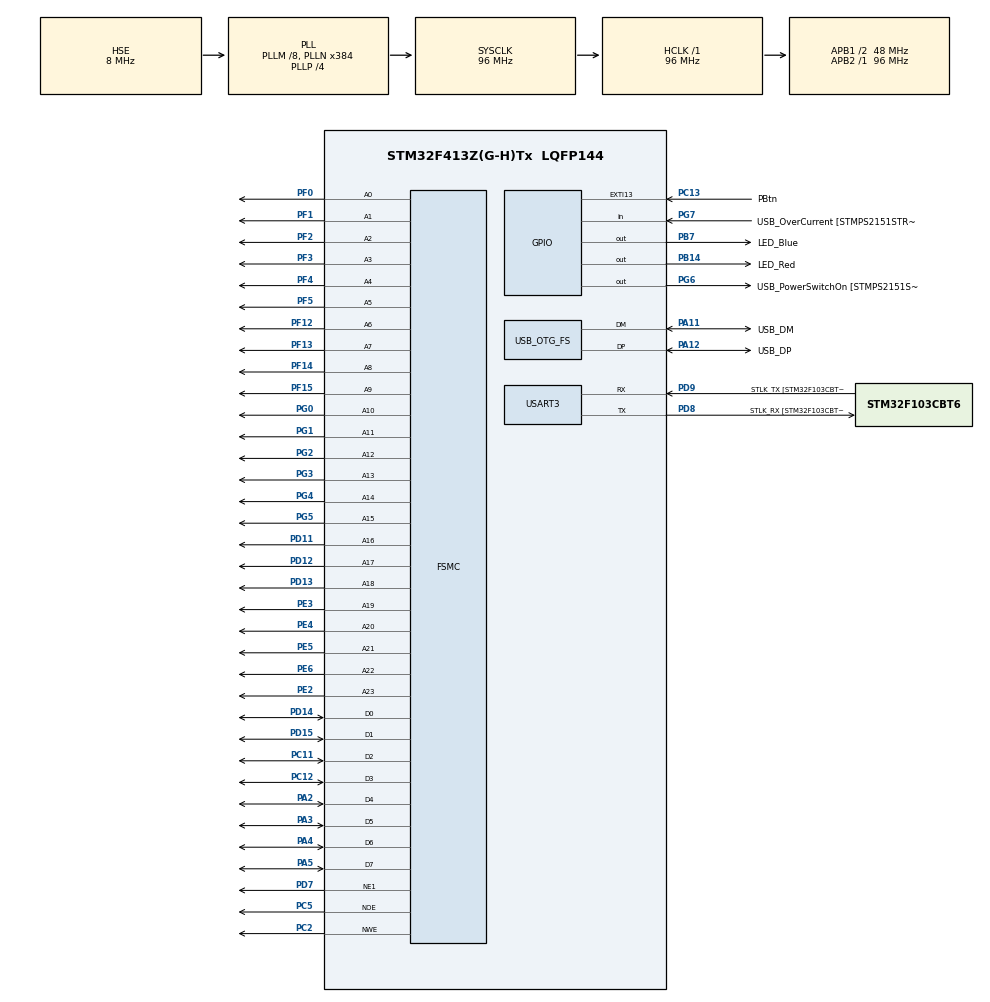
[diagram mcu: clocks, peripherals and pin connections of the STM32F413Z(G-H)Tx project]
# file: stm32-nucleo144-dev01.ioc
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FSMC.ExtendedMode1=FSMC_EXTENDED_MODE_ENABLE
FSMC.WriteOperation1=FSMC_WRITE_OPERATION_ENABLE
Mcu.Family=STM32F4
Mcu.Name=STM32F413Z(G-H)Tx
Mcu.Package=LQFP144
NVIC.OTG_FS_IRQn=true\:0\:0\:false\:false\:true\:false
NVIC.PriorityGroup=NVIC_PRIORITYGROUP_4
NVIC.TIM3_IRQn=true\:0\:0\:false\:false\:true\:true
PA11.GPIO_Label=USB_DM
PA11.Mode=Device_Only
PA11.Signal=USB_OTG_FS_DM
PA12.GPIO_Label=USB_DP
PA12.Mode=Device_Only
PA12.Signal=USB_OTG_FS_DP
PA13.GPIO_Label=TMS
PA13.Mode=Serial_Wire
PA13.Signal=SYS_JTMS-SWDIO
PA14.GPIO_Label=TCK
PA14.Mode=Serial_Wire
PA14.Signal=SYS_JTCK-SWCLK
PA2.Signal=FSMC_D4_DA4
PA3.Signal=FSMC_D5_DA5
PA4.Signal=FSMC_D6_DA6
PA5.Signal=FSMC_D7_DA7
PB14.GPIO_Label=LED_Red
PB14.Signal=GPIO_Output
PB3.GPIO_Label=SWO
PB3.Signal=SYS_JTDO-SWO
PB7.GPIO_Label=LED_Blue
PB7.Signal=GPIO_Output
PC11.Signal=FSMC_D2_DA2
PC12.Signal=FSMC_D3_DA3
PC13.GPIO_Label=PBtn
PC13.Signal=GPXTI13
PC14-OSC32_IN.Mode=LSE-External-Oscillator
PC14-OSC32_IN.Signal=RCC_OSC32_IN
PC15-OSC32_OUT.Mode=LSE-External-Oscillator
PC15-OSC32_OUT.Signal=RCC_OSC32_OUT
PC2.Signal=FSMC_NWE
PC5.Signal=FSMC_NOE
PD11.Signal=FSMC_A16
PD12.Signal=FSMC_A17
PD13.Signal=FSMC_A18
PD14.Signal=FSMC_D0_DA0
PD15.Signal=FSMC_D1_DA1
PD7.Mode=NorPsramChipSelect1_1
PD7.Signal=FSMC_NE1
PD8.GPIO_Label=STLK_RX [STM32F103CBT6_PA3]
PD8.Mode=Asynchronous
PD8.Signal=USART3_TX
PD9.GPIO_Label=STLK_TX [STM32F103CBT6_PA2]
PD9.Mode=Asynchronous
PD9.Signal=USART3_RX
PE2.Signal=FSMC_A23
PE3.Signal=FSMC_A19
PE4.Signal=FSMC_A20
PE5.Signal=FSMC_A21
PE6.Signal=FSMC_A22
PF0.Signal=FSMC_A0
PF1.Signal=FSMC_A1
PF12.Signal=FSMC_A6
PF13.Signal=FSMC_A7
PF14.Signal=FSMC_A8
PF15.Signal=FSMC_A9
PF2.Signal=FSMC_A2
PF3.Signal=FSMC_A3
PF4.Signal=FSMC_A4
PF5.Signal=FSMC_A5
PG0.Signal=FSMC_A10
PG1.Signal=FSMC_A11
PG2.Signal=FSMC_A12
PG3.Signal=FSMC_A13
PG4.Signal=FSMC_A14
PG5.Signal=FSMC_A15
PG6.GPIO_Label=USB_PowerSwitchOn [STMPS2151STR_EN]
PG6.Signal=GPIO_Output
PG7.GPIO_Label=USB_OverCurrent [STMPS2151STR_FAULT]
PG7.Signal=GPIO_Input
PH0\ -\ OSC_IN.GPIO_Label=MCO
PH0\ -\ OSC_IN.Mode=HSE-External-Clock-Source
PH0\ -\ OSC_IN.Signal=RCC_OSC_IN
PH1\ -\ OSC_OUT.Mode=HSE-External-Clock-Source
PH1\ -\ OSC_OUT.Signal=RCC_OSC_OUT
ProjectManager.HeapSize=0x200
ProjectManager.StackSize=0x400
ProjectManager.TargetToolchain=TrueSTUDIO
RCC.48MHZClocksFreq_Value=24000000
RCC.AHBFreq_Value=96000000
RCC.APB1CLKDivider=RCC_HCLK_DIV2
RCC.APB1Freq_Value=48000000
RCC.APB1TimFreq_Value=96000000
RCC.APB2Freq_Value=96000000
RCC.APB2TimFreq_Value=96000000
RCC.CortexFreq_Value=96000000
RCC.HCLKFreq_Value=96000000
RCC.HSE_VALUE=8000000
RCC.HSI_VALUE=16000000
RCC.PLLM=8
RCC.PLLMUL=RCC_PLL_MUL9
RCC.PLLN=384
RCC.PLLP=RCC_PLLP_DIV4
RCC.PLLQ=8
RCC.PRESCALERUSB=RCC_USBCLKSOURCE_PLL_DIV1_5
RCC.SYSCLKFreq_VALUE=96000000
RCC.SYSCLKSource=RCC_SYSCLKSOURCE_PLLCLK
RCC.SYSCLKSourceVirtual=RCC_SYSCLKSOURCE_PLLCLK
RCC.USBFreq_Value=48000000
RCC.VCOOutputFreq_Value=384000000
SH.FSMC_A0.0=FSMC_A0,24b-a1
SH.FSMC_A1.0=FSMC_A1,24b-a1
SH.FSMC_A10.0=FSMC_A10,24b-a1
SH.FSMC_A11.0=FSMC_A11,24b-a1
SH.FSMC_A12.0=FSMC_A12,24b-a1
SH.FSMC_A13.0=FSMC_A13,24b-a1
SH.FSMC_A14.0=FSMC_A14,24b-a1
SH.FSMC_A15.0=FSMC_A15,24b-a1
SH.FSMC_A16.0=FSMC_A16,24b-a1
SH.FSMC_A17.0=FSMC_A17,24b-a1
SH.FSMC_A18.0=FSMC_A18,24b-a1
SH.FSMC_A19.0=FSMC_A19,24b-a1
SH.FSMC_A2.0=FSMC_A2,24b-a1
SH.FSMC_A20.0=FSMC_A20,24b-a1
SH.FSMC_A21.0=FSMC_A21,24b-a1
SH.FSMC_A22.0=FSMC_A22,24b-a1
SH.FSMC_A23.0=FSMC_A23,24b-a1
SH.FSMC_A3.0=FSMC_A3,24b-a1
SH.FSMC_A4.0=FSMC_A4,24b-a1
SH.FSMC_A5.0=FSMC_A5,24b-a1
SH.FSMC_A6.0=FSMC_A6,24b-a1
SH.FSMC_A7.0=FSMC_A7,24b-a1
SH.FSMC_A8.0=FSMC_A8,24b-a1
SH.FSMC_A9.0=FSMC_A9,24b-a1
SH.FSMC_D0_DA0.0=FSMC_D0,8b-d1
SH.FSMC_D1_DA1.0=FSMC_D1,8b-d1
SH.FSMC_D2_DA2.0=FSMC_D2,8b-d1
SH.FSMC_D3_DA3.0=FSMC_D3,8b-d1
SH.FSMC_D4_DA4.0=FSMC_D4,8b-d1
SH.FSMC_D5_DA5.0=FSMC_D5,8b-d1
SH.FSMC_D6_DA6.0=FSMC_D6,8b-d1
SH.FSMC_D7_DA7.0=FSMC_D7,8b-d1
SH.FSMC_NOE.0=FSMC_NOE,NorFlash1
SH.FSMC_NWE.0=FSMC_NWE,NorFlash1
TIM3.ClockDivision=TIM_CLOCKDIVISION_DIV2
TIM3.Period=1000
TIM3.Prescaler=47999
USART3.VirtualMode=VM_ASYNC
USB_DEVICE.CLASS_NAME_FS=CDC
USB_DEVICE.MANUFACTURER_STRING=db Electronics
USB_DEVICE.PRODUCT_STRING_CDC_FS=UMDv2
USB_DEVICE.VirtualMode=Cdc
USB_DEVICE.VirtualModeFS=Cdc_FS
USB_OTG_FS.VirtualMode=Device_Only
VP_TIM3_VS_ClockSourceINT.Mode=Internal
VP_USB_DEVICE_VS_USB_DEVICE_CDC_FS.Mode=CDC_FS
board=NUCLEO-F413ZH

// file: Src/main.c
/**
  ******************************************************************************
  * @file           : main.c
  * @brief          : Main program body
  ******************************************************************************
  * This notice applies to any and all portions of this file
  * that are not between comment pairs USER CODE BEGIN and
  * USER CODE END. Other portions of this file, whether
  * inserted by the user or by software development tools
  * are owned by their respective copyright owners.
  *
  * Copyright (c) 2019 STMicroelectronics International N.V.
  * All rights reserved.
  *
  * Redistribution and use in source and binary forms, with or without
  * modification, are permitted, provided that the following conditions are met:
  *
  * 1. Redistribution of source code must retain the above copyright notice,
  *    this list of conditions and the following disclaimer.
  * 2. Redistributions in binary form must reproduce the above copyright notice,
  *    this list of conditions and the following disclaimer in the documentation
  *    and/or other materials provided with the distribution.
  * 3. Neither the name of STMicroelectronics nor the names of other
  *    contributors to this software may be used to endorse or promote products
  *    derived from this software without specific written permission.
  * 4. This software, including modifications and/or derivative works of this
  *    software, must execute solely and exclusively on microcontroller or
  *    microprocessor devices manufactured by or for STMicroelectronics.
  * 5. Redistribution and use of this software other than as permitted under
  *    this license is void and will automatically terminate your rights under
  *    this license.
  *
  * THIS SOFTWARE IS PROVIDED BY STMICROELECTRONICS AND CONTRIBUTORS "AS IS"
  * AND ANY EXPRESS, IMPLIED OR STATUTORY WARRANTIES, INCLUDING, BUT NOT
  * LIMITED TO, THE IMPLIED WARRANTIES OF MERCHANTABILITY, FITNESS FOR A
  * PARTICULAR PURPOSE AND NON-INFRINGEMENT OF THIRD PARTY INTELLECTUAL PROPERTY
  * RIGHTS ARE DISCLAIMED TO THE FULLEST EXTENT PERMITTED BY LAW. IN NO EVENT
  * SHALL STMICROELECTRONICS OR CONTRIBUTORS BE LIABLE FOR ANY DIRECT, INDIRECT,
  * INCIDENTAL, SPECIAL, EXEMPLARY, OR CONSEQUENTIAL DAMAGES (INCLUDING, BUT NOT
  * LIMITED TO, PROCUREMENT OF SUBSTITUTE GOODS OR SERVICES; LOSS OF USE, DATA,
  * OR PROFITS; OR BUSINESS INTERRUPTION) HOWEVER CAUSED AND ON ANY THEORY OF
  * LIABILITY, WHETHER IN CONTRACT, STRICT LIABILITY, OR TORT (INCLUDING
  * NEGLIGENCE OR OTHERWISE) ARISING IN ANY WAY OUT OF THE USE OF THIS SOFTWARE,
  * EVEN IF ADVISED OF THE POSSIBILITY OF SUCH DAMAGE.
  *
  ******************************************************************************
  */
#include "main.h"
#include "stm32f4xx_hal.h"
#include "tim.h"
#include "usart.h"
#include "usb_device.h"
#include "gpio.h"

/* USER CODE BEGIN Includes */
#include "usbd_cdc_if.h"
#include "cli.h"
#include "string.h"
/* USER CODE END Includes */

/* USER CODE BEGIN PV */
/* Private variables ---------------------------------------------------------*/
//extern struct usbbuf;
/* USER CODE END PV */

void SystemClock_Config(void);

/* USER CODE BEGIN PFP */
/* Private function prototypes -----------------------------------------------*/

/* USER CODE END PFP */

/* USER CODE BEGIN 0 */
void cmd_detect_umd(){
	CDC_Transmit_FS((uint8_t*)"UMDv2\n", 6);
}

/* USER CODE END 0 */

int main(void)
{
  /* USER CODE BEGIN 1 */
	int rxlen;
	uint8_t rxdata[128];
	char cmd[128];
  /* USER CODE END 1 */

  /* MCU Configuration---------------------------------------------------------*/

  /* Reset of all peripherals, Initializes the Flash interface and the Systick. */
  HAL_Init();

  /* USER CODE BEGIN Init */
  HAL_GPIO_WritePin(USB_PowerSwitchOn_GPIO_Port, USB_PowerSwitchOn_Pin, GPIO_PIN_SET);
  /* USER CODE END Init */

  /* Configure the system clock */
  SystemClock_Config();

  /* USER CODE BEGIN SysInit */

  cli_register_cmd("detect", &cmd_detect_umd );

  /* USER CODE END SysInit */

  /* Initialize all configured peripherals */
  MX_GPIO_Init();
  MX_USART3_UART_Init();
  MX_USB_DEVICE_Init();
  MX_TIM3_Init();
  /* USER CODE BEGIN 2 */
  HAL_TIM_Base_Start_IT(&htim3);
  /* USER CODE END 2 */

  /* Infinite loop */
  /* USER CODE BEGIN WHILE */
  while (1)
  {
	  HAL_Delay(500);
  /* USER CODE END WHILE */
	  HAL_GPIO_TogglePin(LED_Red_GPIO_Port, LED_Red_Pin);
  /* USER CODE BEGIN 3 */
	  rxlen = 0;

	  // check for USB data rx
	  if( usbbuf.head != usbbuf.tail ){
		  rxlen = 0;
		  while( usbbuf.tail != usbbuf.head ){
			  rxdata[rxlen++] = usbbuf.data.byte[usbbuf.head++];
			  if( usbbuf.head >= USB_BUFFER_SIZE ){
				  usbbuf.head = 0;
			  }
		  }

		  //CDC_Transmit_FS(txdata, txlen);  // loopback data
		  strncpy(cmd, (char*)rxdata, rxlen);
		  cli_parse_input(cmd);
	  }
  }
  /* USER CODE END 3 */

}

void SystemClock_Config(void)
{

  RCC_OscInitTypeDef RCC_OscInitStruct;
  RCC_ClkInitTypeDef RCC_ClkInitStruct;
  RCC_PeriphCLKInitTypeDef PeriphClkInitStruct;

    /**Configure the main internal regulator output voltage
    */
  __HAL_RCC_PWR_CLK_ENABLE();

  __HAL_PWR_VOLTAGESCALING_CONFIG(PWR_REGULATOR_VOLTAGE_SCALE1);

    /**Initializes the CPU, AHB and APB busses clocks
    */
  RCC_OscInitStruct.OscillatorType = RCC_OSCILLATORTYPE_HSE;
  RCC_OscInitStruct.HSEState = RCC_HSE_BYPASS;
  RCC_OscInitStruct.PLL.PLLState = RCC_PLL_ON;
  RCC_OscInitStruct.PLL.PLLSource = RCC_PLLSOURCE_HSE;
  RCC_OscInitStruct.PLL.PLLM = 8;
  RCC_OscInitStruct.PLL.PLLN = 384;
  RCC_OscInitStruct.PLL.PLLP = RCC_PLLP_DIV4;
  RCC_OscInitStruct.PLL.PLLQ = 8;
  RCC_OscInitStruct.PLL.PLLR = 2;
  if (HAL_RCC_OscConfig(&RCC_OscInitStruct) != HAL_OK)
  {
    _Error_Handler(__FILE__, __LINE__);
  }

    /**Initializes the CPU, AHB and APB busses clocks
    */
  RCC_ClkInitStruct.ClockType = RCC_CLOCKTYPE_HCLK|RCC_CLOCKTYPE_SYSCLK
                              |RCC_CLOCKTYPE_PCLK1|RCC_CLOCKTYPE_PCLK2;
  RCC_ClkInitStruct.SYSCLKSource = RCC_SYSCLKSOURCE_PLLCLK;
  RCC_ClkInitStruct.AHBCLKDivider = RCC_SYSCLK_DIV1;
  RCC_ClkInitStruct.APB1CLKDivider = RCC_HCLK_DIV2;
  RCC_ClkInitStruct.APB2CLKDivider = RCC_HCLK_DIV1;

  if (HAL_RCC_ClockConfig(&RCC_ClkInitStruct, FLASH_LATENCY_3) != HAL_OK)
  {
    _Error_Handler(__FILE__, __LINE__);
  }

  PeriphClkInitStruct.PeriphClockSelection = RCC_PERIPHCLK_CLK48;
  PeriphClkInitStruct.Clk48ClockSelection = RCC_CLK48CLKSOURCE_PLLQ;
  if (HAL_RCCEx_PeriphCLKConfig(&PeriphClkInitStruct) != HAL_OK)
  {
    _Error_Handler(__FILE__, __LINE__);
  }

    /**Configure the Systick interrupt time
    */
  HAL_SYSTICK_Config(HAL_RCC_GetHCLKFreq()/1000);

    /**Configure the Systick
    */
  HAL_SYSTICK_CLKSourceConfig(SYSTICK_CLKSOURCE_HCLK);

  /* SysTick_IRQn interrupt configuration */
  HAL_NVIC_SetPriority(SysTick_IRQn, 0, 0);
}

void _Error_Handler(char *file, int line)
{
  while(1)
  {
  }
}

/************************ (C) COPYRIGHT STMicroelectronics *****END OF FILE****/
